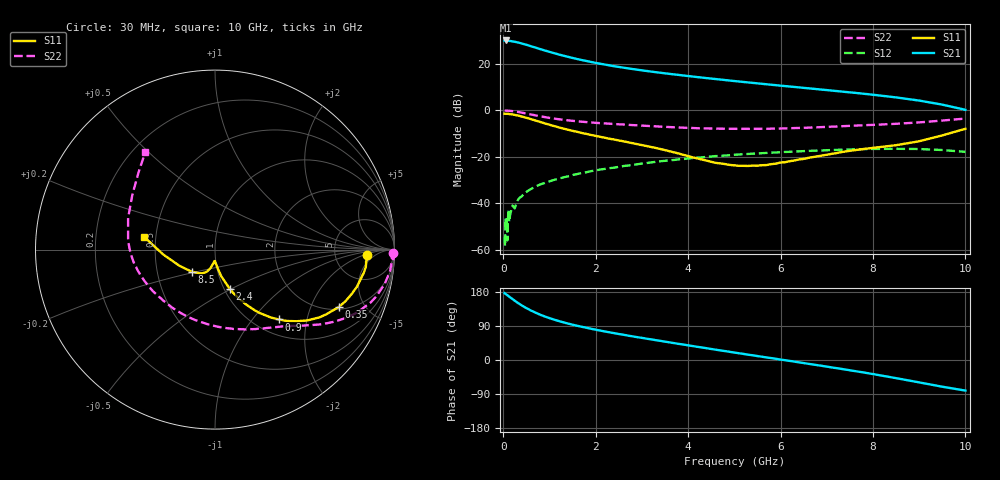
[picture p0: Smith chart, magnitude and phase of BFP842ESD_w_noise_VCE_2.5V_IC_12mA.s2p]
! Infineon Technologies  Discrete & RF Semiconductors
! BFP842ESD
! VCE =  2.5 V,  IC =  12 mA
! Common Emitter S-Parameters:  May 2012
# GHz  S  MA  R  50
!  f  S11  S21  S12  S22
! GHz  MAG  ANG  MAG  ANG  MAG  ANG  MAG  ANG
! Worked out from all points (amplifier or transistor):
!   99 points, 30 MHz to 10 GHz, reference 50 ohm
!   highest |S21| = 30.1 dB at 60 MHz (marker M1)
!   |S21| within 3 dB of that: start of sweep to 685.8 MHz
!   unconditionally stable (mu >= 1): 2.699 GHz to end of sweep
!   at 350 MHz: K = 0.30, MSG = 33.4 dB, |S12| = -37.7 dB
!   at 3.5 GHz: K = 1.05, MAG = 17.5 dB, |S12| = -21.7 dB
!   at 10 GHz: K = 1.80, MAG = 3.9 dB, |S12| = -17.8 dB
!   lowest NFmin = 0.63 dB at 450 MHz
!   S11 on the Smith chart (normalised r, x): 30 MHz: 12, -2; 350 MHz: 2.13, -3.23; 900 MHz: 1.27, -1.37; 2.4 GHz: 1.06, -0.50; 8.5 GHz: 0.75, -0.19; 10 GHz: 0.43, +0.07
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0.03  0.8481 -1.9  31.9 176.5  0.0019 74.2  0.9897 -1.1
0.04  0.8455 -2.8  31.78 175.4  0.0012 163.0  0.9881 -1.5
0.05  0.8484 -3.8  31.54 174.2  0.0048 45.4  0.9863 -2.8
0.06  0.8439 -4.6  31.97 173.5  0.0028 76.9  0.9972 -3.0
0.09  0.846 -6.5  31.21 171.1  0.0016 -22.0  0.9856 -4.4
0.11  0.84 -8.5  31.62 168.9  0.0063 85.1  0.9828 -6.0
0.15  0.8291 -11.2  31.17 165.3  0.0057 90.2  0.9762 -8.4
0.25  0.8002 -18.1  30.03 156.4  0.0078 77.2  0.9493 -13.8
0.35  0.7612 -24.8  28.46 148.1  0.0131 76.9  0.9163 -18.7
0.5  0.6944 -32.9  25.84 137.0  0.0176 71.0  0.8565 -24.7
0.6  0.6493 -37.4  24.03 130.6  0.0204 69.2  0.8179 -27.9
0.8  0.564 -44.8  20.85 119.5  0.0256 63.4  0.7472 -33.3
0.9  0.5259 -47.7  19.45 114.8  0.0274 63.0  0.7179 -35.5
1.1  0.4604 -52.6  17.05 106.5  0.032 60.6  0.667 -39.2
1.3  0.4071 -56.6  15.05 99.5  0.0363 58.6  0.6275 -42.6
1.7  0.3263 -62.0  12.12 87.7  0.045 55.0  0.571 -48.5
2.4  0.2367 -69.1  8.93 70.9  0.0587 48.6  0.5092 -59.7
3.4  0.1478 -77.2  6.458 50.5  0.0805 37.4  0.4477 -78.9
5.1  0.0642 -90.9  4.185 17.8  0.1127 15.3  0.4006 -119.9
6.7  0.099 -102.1  2.926 -11.8  0.1356 -7.1  0.43 -155.9
8.5  0.1785 -136.4  1.905 -47.9  0.1493 -37.8  0.5152 160.0
10  0.4022 169.7  1.03 -80.7  0.1281 -69.4  0.6677 125.6
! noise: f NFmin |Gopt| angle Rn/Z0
0.45  0.63  0.11  0  0.11
0.9  0.64  0.11  2  0.1
1.5  0.65  0.11  6  0.09
1.9  0.66  0.1  15  0.08
2.4  0.67  0.08  19  0.08
3.5  0.74  0.03  146  0.08
4  0.78  0.05  -160  0.07
5  0.85  0.08  -132  0.07
5.5  0.95  0.1  -127  0.08
6  1.05  0.11  -121  0.1
